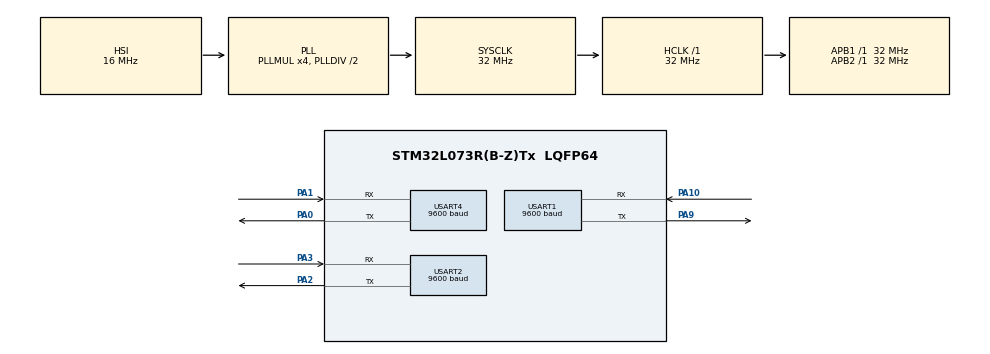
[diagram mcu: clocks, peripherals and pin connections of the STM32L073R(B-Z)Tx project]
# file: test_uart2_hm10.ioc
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Mcu.Family=STM32L0
Mcu.Name=STM32L073R(B-Z)Tx
Mcu.Package=LQFP64
PA0.Mode=Asynchronous
PA0.Signal=USART4_TX
PA1.Mode=Asynchronous
PA1.Signal=USART4_RX
PA10.Mode=Asynchronous
PA10.Signal=USART1_RX
PA2.Mode=Asynchronous
PA2.Signal=USART2_TX
PA3.Mode=Asynchronous
PA3.Signal=USART2_RX
PA9.Mode=Asynchronous
PA9.Signal=USART1_TX
ProjectManager.HeapSize=0x200
ProjectManager.StackSize=0x400
ProjectManager.TargetToolchain=MDK-ARM V5.27
RCC.AHBFreq_Value=32000000
RCC.APB1Freq_Value=32000000
RCC.APB1TimFreq_Value=32000000
RCC.APB2Freq_Value=32000000
RCC.APB2TimFreq_Value=32000000
RCC.HCLKFreq_Value=32000000
RCC.HSE_VALUE=8000000
RCC.HSI16_VALUE=16000000
RCC.HSI48_VALUE=48000000
RCC.HSI_VALUE=16000000
RCC.LSE_VALUE=32768
RCC.MSI_VALUE=2097000
RCC.PLLMUL=RCC_PLLMUL_4
RCC.SYSCLKFreq_VALUE=32000000
RCC.SYSCLKSource=RCC_SYSCLKSOURCE_PLLCLK
RCC.VCOOutputFreq_Value=64000000
USART1.BaudRate=9600
USART1.VirtualMode-Asynchronous=VM_ASYNC
USART2.BaudRate=9600
USART2.VirtualMode-Asynchronous=VM_ASYNC
USART4.BaudRate=9600
USART4.VirtualMode-Asynchronous=VM_ASYNC
board=custom

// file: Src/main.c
/* USER CODE BEGIN Header */
/**
  ******************************************************************************
  * @file           : main.c
  * @brief          : Main program body
  ******************************************************************************
  * @attention
  *
  * <h2><center>&copy; Copyright (c) 2021 STMicroelectronics.
  * All rights reserved.</center></h2>
  *
  * This software component is licensed by ST under BSD 3-Clause license,
  * the "License"; You may not use this file except in compliance with the
  * License. You may obtain a copy of the License at:
  *                        opensource.org/licenses/BSD-3-Clause
  *
  ******************************************************************************
  */
/* USER CODE END Header */
#include "main.h"
#include <string.h>

/* USER CODE BEGIN Includes */
#include <stdio.h>

/* USER CODE END Includes */

/* USER CODE BEGIN PTD */
#ifdef __GNUC__
  /* With GCC, small printf (option LD Linker->Libraries->Small printf
     set to 'Yes') calls __io_putchar() */
  #define PUTCHAR_PROTOTYPE int __io_putchar(int ch)
#else
  #define PUTCHAR_PROTOTYPE int fputc(int ch, FILE *f)
#endif /* __GNUC__ */
/* USER CODE END PTD */

UART_HandleTypeDef huart1;
UART_HandleTypeDef huart2;
UART_HandleTypeDef huart4;

/* USER CODE BEGIN PV */

char *AT="AT\r\n";
char *INQ="AT+INQ\r\n";
char *INQM="AT+INQM";
char *ROLE="AT+ROLE0";
char *VERSION="AT+VERSION?";
char *BAUD="AT+BAUD\r\n";
char *SHOW="AT+SHOW";
char *NAME="AT+NAME\r\n";
char *DISI="AT+DISI?";
char *CONN="AT+CONN1\r\n";
char *RSSI="AT+RSSI?";
char *IBEA="AT+IBEA0\r\n";
char *HELP="AT+HELP\r\n";
char *DEFAULT="AT+DEFAULT\r\n";
char *RENEW="AT+RENEW\r\n";
char *IMME="AT+IMME1";
char *RESET1="AT+RESET\r\n";
char *DISC="AT+DISC?";
char *DISA="AT+DISA?";
char *MODE="AT+MODE?";
char *SCAN="AT+SCAN1";
char *CONNL="AT+CONNL";
char *MEA="AT+MEA";
char *RETOUR="\r\n";
char *ADTY3="AT+ADTY3\r\n";
char *MARJ="AT+MARJ0x0539\r\n";
char *MINO="AT+MINO0x0001\r\n";
char *NAMEI="AT+NAMEIBEACON01\r\n";
char *ADVI="AT+ADVI0\r\n";
	char app1[4000];
/* USER CODE END PV */

void SystemClock_Config(void);
static void MX_GPIO_Init(void);
static void MX_USART1_UART_Init(void);
static void MX_USART2_UART_Init(void);
static void MX_USART4_UART_Init(void);

/* USER CODE BEGIN 0 */
void HM10_Send_Command( uint8_t * command , uint16_t size)
{
	HAL_UART_Transmit(&huart4, command,size, 0xFFFF);

}
/* USER CODE END 0 */

int main(void)
{

  /* MCU Configuration--------------------------------------------------------*/

  /* Reset of all peripherals, Initializes the Flash interface and the Systick. */
  HAL_Init();

  /* Configure the system clock */
  SystemClock_Config();

  /* Initialize all configured peripherals */
  MX_GPIO_Init();
  MX_USART1_UART_Init();
  MX_USART2_UART_Init();
  MX_USART4_UART_Init();

  /* Infinite loop */
  while (1)
  {
for(;;){

		  HM10_Send_Command((uint8_t *)VERSION, 11);	              // envoie command AT
	    HAL_UART_Receive(&huart4, (uint8_t *)app1,10, 0xFFFF);
	    HAL_UART_Transmit(&huart2, (uint8_t *)app1,10, 0xFFFF);    // visualisation

  }
}
}
void SystemClock_Config(void)
{
  RCC_OscInitTypeDef RCC_OscInitStruct = {0};
  RCC_ClkInitTypeDef RCC_ClkInitStruct = {0};
  RCC_PeriphCLKInitTypeDef PeriphClkInit = {0};

  /** Configure the main internal regulator output voltage
  */
  __HAL_PWR_VOLTAGESCALING_CONFIG(PWR_REGULATOR_VOLTAGE_SCALE1);
  /** Initializes the RCC Oscillators according to the specified parameters
  * in the RCC_OscInitTypeDef structure.
  */
  RCC_OscInitStruct.OscillatorType = RCC_OSCILLATORTYPE_HSI;
  RCC_OscInitStruct.HSIState = RCC_HSI_ON;
  RCC_OscInitStruct.HSICalibrationValue = RCC_HSICALIBRATION_DEFAULT;
  RCC_OscInitStruct.PLL.PLLState = RCC_PLL_ON;
  RCC_OscInitStruct.PLL.PLLSource = RCC_PLLSOURCE_HSI;
  RCC_OscInitStruct.PLL.PLLMUL = RCC_PLLMUL_4;
  RCC_OscInitStruct.PLL.PLLDIV = RCC_PLLDIV_2;
  if (HAL_RCC_OscConfig(&RCC_OscInitStruct) != HAL_OK)
  {
    Error_Handler();
  }
  /** Initializes the CPU, AHB and APB buses clocks
  */
  RCC_ClkInitStruct.ClockType = RCC_CLOCKTYPE_HCLK|RCC_CLOCKTYPE_SYSCLK
                              |RCC_CLOCKTYPE_PCLK1|RCC_CLOCKTYPE_PCLK2;
  RCC_ClkInitStruct.SYSCLKSource = RCC_SYSCLKSOURCE_PLLCLK;
  RCC_ClkInitStruct.AHBCLKDivider = RCC_SYSCLK_DIV1;
  RCC_ClkInitStruct.APB1CLKDivider = RCC_HCLK_DIV1;
  RCC_ClkInitStruct.APB2CLKDivider = RCC_HCLK_DIV1;

  if (HAL_RCC_ClockConfig(&RCC_ClkInitStruct, FLASH_LATENCY_1) != HAL_OK)
  {
    Error_Handler();
  }
  PeriphClkInit.PeriphClockSelection = RCC_PERIPHCLK_USART1|RCC_PERIPHCLK_USART2;
  PeriphClkInit.Usart1ClockSelection = RCC_USART1CLKSOURCE_PCLK2;
  PeriphClkInit.Usart2ClockSelection = RCC_USART2CLKSOURCE_PCLK1;
  if (HAL_RCCEx_PeriphCLKConfig(&PeriphClkInit) != HAL_OK)
  {
    Error_Handler();
  }
}

static void MX_USART1_UART_Init(void)
{

  huart1.Instance = USART1;
  huart1.Init.BaudRate = 9600;
  huart1.Init.WordLength = UART_WORDLENGTH_8B;
  huart1.Init.StopBits = UART_STOPBITS_1;
  huart1.Init.Parity = UART_PARITY_NONE;
  huart1.Init.Mode = UART_MODE_TX_RX;
  huart1.Init.HwFlowCtl = UART_HWCONTROL_NONE;
  huart1.Init.OverSampling = UART_OVERSAMPLING_16;
  huart1.Init.OneBitSampling = UART_ONE_BIT_SAMPLE_DISABLE;
  huart1.AdvancedInit.AdvFeatureInit = UART_ADVFEATURE_NO_INIT;
  if (HAL_UART_Init(&huart1) != HAL_OK)
  {
    Error_Handler();
  }

}

static void MX_USART2_UART_Init(void)
{

  huart2.Instance = USART2;
  huart2.Init.BaudRate = 9600;
  huart2.Init.WordLength = UART_WORDLENGTH_8B;
  huart2.Init.StopBits = UART_STOPBITS_1;
  huart2.Init.Parity = UART_PARITY_NONE;
  huart2.Init.Mode = UART_MODE_TX_RX;
  huart2.Init.HwFlowCtl = UART_HWCONTROL_NONE;
  huart2.Init.OverSampling = UART_OVERSAMPLING_16;
  huart2.Init.OneBitSampling = UART_ONE_BIT_SAMPLE_DISABLE;
  huart2.AdvancedInit.AdvFeatureInit = UART_ADVFEATURE_NO_INIT;
  if (HAL_UART_Init(&huart2) != HAL_OK)
  {
    Error_Handler();
  }

}

static void MX_USART4_UART_Init(void)
{

  huart4.Instance = USART4;
  huart4.Init.BaudRate = 9600;
  huart4.Init.WordLength = UART_WORDLENGTH_8B;
  huart4.Init.StopBits = UART_STOPBITS_1;
  huart4.Init.Parity = UART_PARITY_NONE;
  huart4.Init.Mode = UART_MODE_TX_RX;
  huart4.Init.HwFlowCtl = UART_HWCONTROL_NONE;
  huart4.Init.OverSampling = UART_OVERSAMPLING_16;
  huart4.Init.OneBitSampling = UART_ONE_BIT_SAMPLE_DISABLE;
  huart4.AdvancedInit.AdvFeatureInit = UART_ADVFEATURE_NO_INIT;
  if (HAL_UART_Init(&huart4) != HAL_OK)
  {
    Error_Handler();
  }

}

static void MX_GPIO_Init(void)
{

  /* GPIO Ports Clock Enable */
  __HAL_RCC_GPIOA_CLK_ENABLE();

}

void Error_Handler(void)
{
  __disable_irq();
  while (1)
  {
  }
}

/************************ (C) COPYRIGHT STMicroelectronics *****END OF FILE****/
